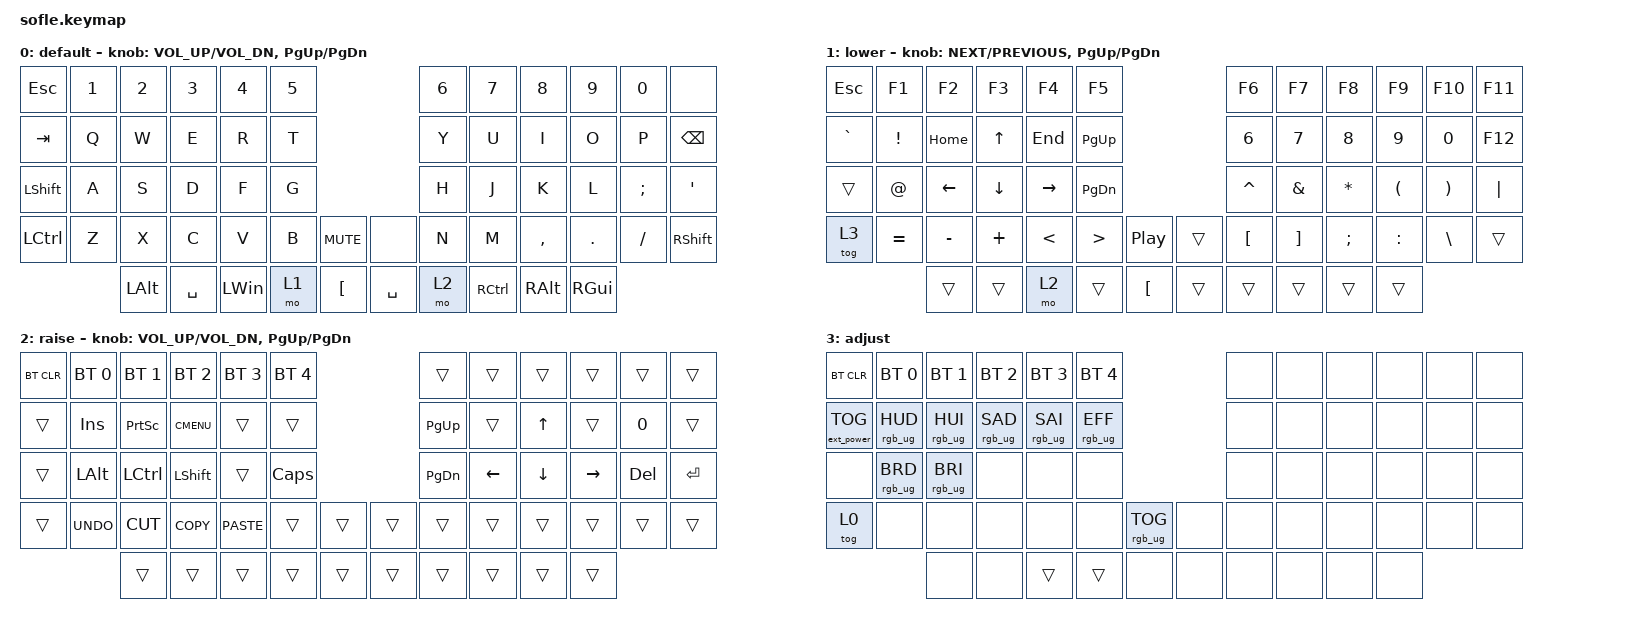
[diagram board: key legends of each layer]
/*
 * Copyright (c) 2020 The ZMK Contributors
 *
 * SPDX-License-Identifier: MIT
 */

#include <behaviors.dtsi>
#include <dt-bindings/zmk/bt.h>
#include <dt-bindings/zmk/ext_power.h>
#include <dt-bindings/zmk/keys.h>
#include <dt-bindings/zmk/rgb.h>

#define BASE 0
#define LOWER 1
#define RAISE 2
#define ADJUST 3

/ {
    // Activate ADJUST layer by pressing raise and lower

    conditional_layers {
        compatible = "zmk,conditional-layers";

        adjust_layer {
            if-layers = <1 2>;
            then-layer = <3>;
        };
    };

    combos { compatible = "zmk,combos"; };

    keymap {
        compatible = "zmk,keymap";

        default_layer {
            display-name = "default";

            // ------------------------------------------------------------------------------------------------------------
            // |   `   |  1  |  2  |  3   |  4   |  5   |                   |  6   |  7    |  8    |  9   |   0   |       |
            // |  ESC  |  Q  |  W  |  E   |  R   |  T   |                   |  Y   |  U    |  I    |  O   |   P   | BKSPC |
            // |  TAB  |  A  |  S  |  D   |  F   |  G   |                   |  H   |  J    |  K    |  L   |   ;   |   '   |
            // | SHIFT |  Z  |  X  |  C   |  V   |  B   |  MUTE  |  |       |  N   |  M    |  ,    |  .   |   /   | SHIFT |
            //               | GUI | ALT  | CTRL | LOWER|  ENTER |  | SPACE | RAISE| CTRL  | ALT   | GUI  |

            bindings = <
&kp ESCAPE      &kp NUMBER_1  &kp N2        &kp N3     &kp N4        &kp N5                                 &kp N6  &kp N7     &kp N8     &kp N9    &kp N0    &none
&kp TAB         &kp Q         &kp W         &kp E      &kp R         &kp T                                  &kp Y   &kp U      &kp I      &kp O     &kp P     &kp BSPC
&kp LEFT_SHIFT  &kp A         &kp S         &kp D      &kp F         &kp G                                  &kp H   &kp J      &kp K      &kp L     &kp SEMI  &kp SQT
&kp LCTRL       &kp Z         &kp X         &kp C      &kp V         &kp B   &kp C_MUTE          &none      &kp N   &kp M      &kp COMMA  &kp DOT   &kp FSLH  &kp RSHFT
                              &kp LEFT_ALT  &kp SPACE  &kp LEFT_WIN  &mo 1   &kp LEFT_BRACKET    &kp SPACE  &mo 2   &kp RCTRL  &kp RALT   &kp RGUI
            >;

            sensor-bindings = <&inc_dec_kp C_VOL_UP C_VOL_DN &inc_dec_kp PG_UP PG_DN>;
        };

        lower_layer {
            display-name = "lower";

            // TODO: Some binds are waiting for shifted keycode support.
            // ------------------------------------------------------------------------------------------------------------
            // |       |  F1 |  F2 |  F3  |  F4  |  F5  |                   |  F6  |  F7   |  F8   |  F9  |  F10  |  F11  |
            // |   `   |  1  |  2  |  3   |  4   |  5   |                   |  6   |  7    |  8    |  9   |   0   |  F12  |
            // |       |  !  |  @  |  #   |  $   |  %   |                   |  ^   |  &    |  *    |  (   |   )   |   |   |
            // |       |  =  |  -  |  +   |  {   |  }   |        |  |       |  [   |  ]    |  ;    |  :   |   \   |       |
            //               |     |      |      |      |        |  |       |      |       |       |      |

            bindings = <
&kp ESC    &kp F1           &kp F2          &kp F3          &kp F4           &kp F5                                        &kp F6     &kp F7    &kp F8     &kp F9     &kp F10   &kp F11
&kp GRAVE  &kp EXCLAMATION  &kp HOME        &kp UP_ARROW    &kp END          &kp PAGE_UP                                   &kp N6     &kp N7    &kp N8     &kp N9     &kp N0    &kp F12
&trans     &kp AT_SIGN      &kp LEFT_ARROW  &kp DOWN_ARROW  &kp RIGHT_ARROW  &kp PAGE_DOWN                                 &kp CARET  &kp AMPS  &kp ASTRK  &kp LPAR   &kp RPAR  &kp PIPE
&tog 3     &kp EQUAL        &kp MINUS       &kp PLUS        &kp LESS_THAN    &kp GREATER_THAN  &kp C_PLAY_PAUSE    &trans  &kp LBKT   &kp RBKT  &kp SEMI   &kp COLON  &kp BSLH  &trans
                            &trans          &trans          &mo 2            &trans            &kp LEFT_BRACKET    &trans  &trans     &trans    &trans     &trans
            >;

            sensor-bindings =
                <&inc_dec_kp C_NEXT C_PREVIOUS>,
                <&inc_dec_kp PG_UP PG_DN>;
        };

        raise_layer {
            display-name = "raise";

            // ------------------------------------------------------------------------------------------------------------
            // | BTCLR | BT1  | BT2  |  BT3  |  BT4  |  BT5 |                |      |      |       |      |       |       |
            // |       | INS  | PSCR | GUI   |       |      |                | PGUP |      |   ^   |      |       |       |
            // |       | ALT  | CTRL | SHIFT |       | CAPS |                | PGDN |   <- |   v   |  ->  |  DEL  | BKSPC |
            // |       | UNDO | CUT  | COPY  | PASTE |      |      |  |      |      |      |       |      |       |       |
            //                |      |       |       |      |      |  |      |      |      |       |      |

            bindings = <
&bt BT_CLR  &bt BT_SEL 0  &bt BT_SEL 1  &bt BT_SEL 2  &bt BT_SEL 3  &bt BT_SEL 4                    &trans     &trans    &trans    &trans     &trans   &trans
&trans      &kp INS       &kp PSCRN     &kp K_CMENU   &trans        &trans                          &kp PG_UP  &trans    &kp UP    &trans     &kp N0   &trans
&trans      &kp LALT      &kp LCTRL     &kp LSHFT     &trans        &kp CLCK                        &kp PG_DN  &kp LEFT  &kp DOWN  &kp RIGHT  &kp DEL  &kp RETURN
&trans      &kp K_UNDO    &kp K_CUT     &kp K_COPY    &kp K_PASTE   &trans        &trans    &trans  &trans     &trans    &trans    &trans     &trans   &trans
                          &trans        &trans        &trans        &trans        &trans    &trans  &trans     &trans    &trans    &trans
            >;

            sensor-bindings = <&inc_dec_kp C_VOL_UP C_VOL_DN &inc_dec_kp PG_UP PG_DN>;
        };

        adjust_layer {
            // ----------------------------------------------------------------------------------------------------------------------------
            // | BTCLR  |  BT1    |  BT2    |   BT3   |   BT4   |   BT5   |                  |      |      |       |      |       |       |
            // | EXTPWR | RGB_HUD | RGB_HUI | RGB_SAD | RGB_SAI | RGB_EFF |                  |      |      |       |      |       |       |
            // |        | RGB_BRD | RGB_BRI |         |         |         |                  |      |      |       |      |       |       |
            // |        |         |         |         |         |         | RGB_TOG | |      |      |      |       |      |       |       |
            //                    |         |         |         |         |         | |      |      |      |       |      |

            display-name = "adjust";
            bindings = <
&bt BT_CLR         &bt BT_SEL 0     &bt BT_SEL 1     &bt BT_SEL 2     &bt BT_SEL 3     &bt BT_SEL 4                               &none  &none  &none  &none  &none  &none
&ext_power EP_TOG  &rgb_ug RGB_HUD  &rgb_ug RGB_HUI  &rgb_ug RGB_SAD  &rgb_ug RGB_SAI  &rgb_ug RGB_EFF                            &none  &none  &none  &none  &none  &none
&none              &rgb_ug RGB_BRD  &rgb_ug RGB_BRI  &none            &none            &none                                      &none  &none  &none  &none  &none  &none
&tog 0             &none            &none            &none            &none            &none            &rgb_ug RGB_TOG    &none  &none  &none  &none  &none  &none  &none
                                    &none            &none            &trans           &trans           &none              &none  &none  &none  &none  &none
            >;
        };
    };
};
